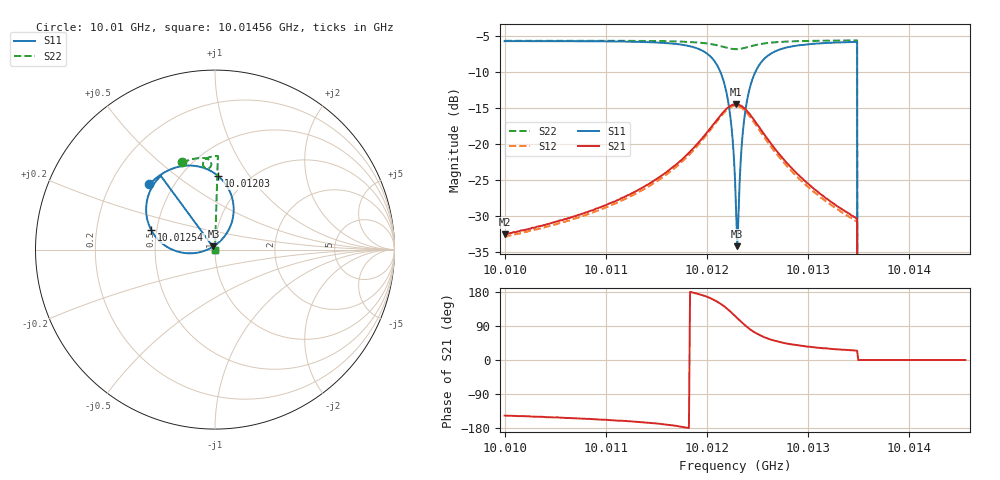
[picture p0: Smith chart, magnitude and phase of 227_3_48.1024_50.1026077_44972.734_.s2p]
#  HZ  S  RI  R  50.00
! Rohde & Schwarz Vector Network Analyzer
! Rohde-Schwarz,ZNB20-2Port,1311601062101988,3.16
! Created: UTC 12/23/2023, 3:57:23 AM
! freq[Hz]  re:S11  im:S11  re:S21  im:S21  re:S12  im:S12  re:S22  im:S22
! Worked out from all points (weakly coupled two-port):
!   401 points, 10.01 GHz to 10.01456 GHz, reference 50 ohm
!   highest |S21| = -14.50 dB at 10.01229 GHz (marker M1); lowest = -32.6 dB at 10.01 GHz (marker M2)
!   lowest |S11| = -34.2 dB at 10.0123 GHz (marker M3), VSWR 1.04, Z = 49.1 + j1.71 ohm
!   |S11| at or under -10 dB: 10.01213 GHz to 10.01248 GHz (347.4 kHz wide, 0.00347 % of centre); 10.01349 GHz to end of sweep
!   |S22| runs from - to -5.6 dB; largest |S21 - S12| = 0.0094
!   S11 on the Smith chart (normalised r, x): 10.01 GHz: 0.37, +0.36; 10.01203 GHz: 0.74, +0.72; 10.01254 GHz: 0.47, +0.12; 10.01456 GHz: 1.00, +0.00
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1.001e10  -0.3664 0.3638  -0.0196 -0.0129  -0.0182 -0.0135  -0.1821 0.4858
1.0010763e10  -0.3105 0.4117  -0.0295 -0.0139  -0.0277 -0.0148  -0.1327 0.5018
1.0011527e10  -0.2035 0.4611  -0.0572 -0.0119  -0.0543 -0.0144  -0.0763 0.5108
1.0011858e10  -0.0891 0.4625  -0.0915 0.00263  -0.0885 -0.00212  -0.0451 0.5064
1.0012029e10  0.0192 0.4084  -0.1217 0.0349  -0.1199 0.0274  -0.0268 0.4936
1.0012131e10  0.0894 0.3071  -0.1344 0.0799  -0.1351 0.0708  -0.0203 0.4773
1.00122e10  0.1023 0.1935  -0.1263 0.1227  -0.1289 0.1141  -0.0237 0.4635
1.0012245e10  0.0746 0.1067  -0.1059 0.1519  -0.1102 0.1439  -0.031 0.4555
1.0012279e10  0.0304 0.0484  -0.0831 0.169  -0.0877 0.1618  -0.0388 0.4524
1.0012291e10  0.0114 0.0315  -0.0744 0.1731  -0.0786 0.1663  -0.0419 0.4519
1.0012302e10  -0.00871 0.0174  -0.0656 0.1762  -0.0697 0.1696  -0.0446 0.4518
1.0012325e10  -0.0536 -0.00497  -0.0473 0.1797  -0.0513 0.1736  -0.0502 0.4529
1.0012359e10  -0.1235 -0.0204  -0.0197 0.1787  -0.0245 0.1728  -0.0576 0.4569
1.0012393e10  -0.19 -0.0155  0.00519 0.1705  1.96e-06 0.1649  -0.0628 0.4626
1.001245e10  -0.2783 0.0223  0.0349 0.1484  0.0283 0.1438  -0.0669 0.4741
1.0012541e10  -0.3544 0.1075  0.0553 0.1107  0.0494 0.1075  -0.0639 0.4899
1.0012758e10  -0.3817 0.2566  0.0552 0.0555  0.0502 0.0553  -0.044 0.5095
1.0013043e10  -0.3511 0.3476  0.0413 0.028  0.0381 0.0285  -0.0183 0.518
1.0013465e10  -0.3044 0.4089  0.028 0.0131  0.0259 0.0138  0.0146 0.5215
1.0013522e10  0 0  0 0  0 0  0 0
1.0013807e10  0 0  0 0  0 0  0 0
1.0014559e10  0 0  0 0  0 0  0 0
